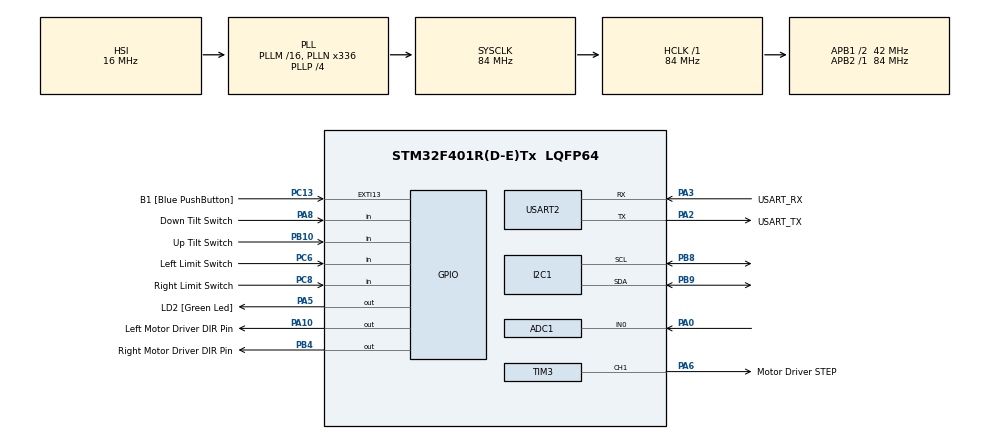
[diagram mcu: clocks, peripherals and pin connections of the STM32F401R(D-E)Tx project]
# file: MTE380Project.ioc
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ADC1.Channel-0\#ChannelRegularConversion=ADC_CHANNEL_0
ADC1.ContinuousConvMode=ENABLE
ADC1.NbrOfConversionFlag=1
ADC1.Rank-0\#ChannelRegularConversion=1
ADC1.SamplingTime-0\#ChannelRegularConversion=ADC_SAMPLETIME_3CYCLES
ADC1.master=1
I2C1.I2C_Mode=I2C_Fast
Mcu.Family=STM32F4
Mcu.Name=STM32F401R(D-E)Tx
Mcu.Package=LQFP64
NVIC.PriorityGroup=NVIC_PRIORITYGROUP_0
PA0-WKUP.Signal=ADCx_IN0
PA10.GPIO_Label=Left Motor Driver DIR Pin
PA10.Signal=GPIO_Output
PA13.GPIO_Label=TMS
PA13.Mode=Serial_Wire
PA13.Signal=SYS_JTMS-SWDIO
PA14.GPIO_Label=TCK
PA14.Mode=Serial_Wire
PA14.Signal=SYS_JTCK-SWCLK
PA2.GPIO_Label=USART_TX
PA2.GPIO_Mode=GPIO_MODE_AF_PP
PA2.GPIO_PuPd=GPIO_NOPULL
PA2.GPIO_Speed=GPIO_SPEED_FREQ_LOW
PA2.Mode=Asynchronous
PA2.Signal=USART2_TX
PA3.GPIO_Label=USART_RX
PA3.GPIO_Mode=GPIO_MODE_AF_PP
PA3.GPIO_PuPd=GPIO_NOPULL
PA3.GPIO_Speed=GPIO_SPEED_FREQ_LOW
PA3.Mode=Asynchronous
PA3.Signal=USART2_RX
PA5.GPIO_Label=LD2 [Green Led]
PA5.GPIO_Mode=GPIO_MODE_OUTPUT_PP
PA5.GPIO_PuPd=GPIO_NOPULL
PA5.GPIO_Speed=GPIO_SPEED_FREQ_LOW
PA5.Signal=GPIO_Output
PA6.GPIO_Label=Motor Driver STEP
PA6.Signal=S_TIM3_CH1
PA8.GPIO_Label=Down Tilt Switch
PA8.Signal=GPIO_Input
PB10.GPIO_Label=Up Tilt Switch
PB10.Signal=GPIO_Input
PB3.GPIO_Label=SWO
PB3.Signal=SYS_JTDO-SWO
PB4.GPIO_Label=Right Motor Driver DIR Pin
PB4.Signal=GPIO_Output
PB8.Mode=I2C
PB8.Signal=I2C1_SCL
PB9.Mode=I2C
PB9.Signal=I2C1_SDA
PC13-ANTI_TAMP.GPIO_Label=B1 [Blue PushButton]
PC13-ANTI_TAMP.GPIO_ModeDefaultEXTI=GPIO_MODE_IT_FALLING
PC13-ANTI_TAMP.GPIO_PuPd=GPIO_NOPULL
PC13-ANTI_TAMP.Signal=GPXTI13
PC14-OSC32_IN.Mode=LSE-External-Oscillator
PC14-OSC32_IN.Signal=RCC_OSC32_IN
PC15-OSC32_OUT.Mode=LSE-External-Oscillator
PC15-OSC32_OUT.Signal=RCC_OSC32_OUT
PC6.GPIO_Label=Left Limit Switch
PC6.Signal=GPIO_Input
PC8.GPIO_Label=Right Limit Switch
PC8.Signal=GPIO_Input
PH0\ -\ OSC_IN.Mode=HSE-External-Oscillator
PH0\ -\ OSC_IN.Signal=RCC_OSC_IN
PH1\ -\ OSC_OUT.Mode=HSE-External-Oscillator
PH1\ -\ OSC_OUT.Signal=RCC_OSC_OUT
ProjectManager.HeapSize=0x200
ProjectManager.StackSize=0x400
ProjectManager.TargetToolchain=Makefile
RCC.48MHZClocksFreq_Value=48000000
RCC.AHBFreq_Value=84000000
RCC.APB1CLKDivider=RCC_HCLK_DIV2
RCC.APB1Freq_Value=42000000
RCC.APB1TimFreq_Value=84000000
RCC.APB2Freq_Value=84000000
RCC.APB2TimFreq_Value=84000000
RCC.CortexFreq_Value=84000000
RCC.HCLKFreq_Value=84000000
RCC.HSE_VALUE=8000000
RCC.HSI_VALUE=16000000
RCC.PLLN=336
RCC.PLLP=RCC_PLLP_DIV4
RCC.PLLQ=7
RCC.SYSCLKFreq_VALUE=84000000
RCC.SYSCLKSource=RCC_SYSCLKSOURCE_PLLCLK
RCC.VCOOutputFreq_Value=336000000
SH.ADCx_IN0.0=ADC1_IN0,IN0
SH.S_TIM3_CH1.0=TIM3_CH1,PWM Generation1 CH1
TIM3.Channel-PWM\ Generation1\ CH1=TIM_CHANNEL_1
TIM3.Period=0
TIM3.Prescaler=16
TIM3.Pulse-PWM\ Generation1\ CH1=100
USART2.VirtualMode=VM_ASYNC
VP_TIM3_VS_ClockSourceINT.Mode=Internal
board=NUCLEO-F401RE

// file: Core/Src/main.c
/* USER CODE BEGIN Header */
/**
  ******************************************************************************
  * @file           : main.c
  * @brief          : Main program body
  ******************************************************************************
  * @attention
  *
  * Copyright (c) 2023 STMicroelectronics.
  * All rights reserved.
  *
  * This software is licensed under terms that can be found in the LICENSE file
  * in the root directory of this software component.
  * If no LICENSE file comes with this software, it is provided AS-IS.
  *
  ******************************************************************************
  */
/* USER CODE END Header */
#include "main.h"

/* USER CODE BEGIN Includes */
#include "switches.h"
#include "MB1040.h"
#include "motor_functions.h"
#include "mpu6050.h"

#ifdef LOGGING
#include "logging.h"
#endif

#include "controls.h"

/* USER CODE END Includes */

ADC_HandleTypeDef hadc1;

I2C_HandleTypeDef hi2c1;

TIM_HandleTypeDef htim3;

UART_HandleTypeDef huart2;

void SystemClock_Config(void);
static void MX_GPIO_Init(void);
static void MX_USART2_UART_Init(void);
static void MX_TIM3_Init(void);
static void MX_ADC1_Init(void);
static void MX_I2C1_Init(void);

int main(void)
{

  /* MCU Configuration--------------------------------------------------------*/

  /* Reset of all peripherals, Initializes the Flash interface and the Systick. */
  HAL_Init();

  /* Configure the system clock */
  SystemClock_Config();

  /* Initialize all configured peripherals */
  MX_GPIO_Init();
  MX_USART2_UART_Init();
  MX_TIM3_Init();
  MX_ADC1_Init();
  MX_I2C1_Init();
  /* USER CODE BEGIN 2 */
  swtiches_config_t rightLimitSwitch;
  swtiches_config_t leftLimitSwitch;
  swtiches_config_t upTiltSwitch;
  swtiches_config_t downTiltSwitch;

  SWITCHES_initialize_switch_config(&rightLimitSwitch, Right_Limit_Switch_Pin, Right_Limit_Switch_GPIO_Port);
  SWITCHES_initialize_switch_config(&leftLimitSwitch, Left_Limit_Switch_Pin, Left_Limit_Switch_GPIO_Port);
  SWITCHES_initialize_switch_config(&upTiltSwitch, Up_Tilt_Switch_Pin, Up_Tilt_Switch_GPIO_Port);
  SWITCHES_initialize_switch_config(&downTiltSwitch, Down_Tilt_Switch_Pin, Down_Tilt_Switch_GPIO_Port);

  switches_instance_t switchInstance;

  SWITCHES_initiallize_switch_instance(&switchInstance, &rightLimitSwitch, &leftLimitSwitch, &upTiltSwitch, &downTiltSwitch);

  motor_config_t rightMotor;
  motor_config_t leftMotor;

  MOTOR_initialize_motor_config(&rightMotor, Right_Motor_Driver_DIR_Pin_GPIO_Port, Right_Motor_Driver_DIR_Pin_Pin);
  MOTOR_initialize_motor_config(&leftMotor, Left_Motor_Driver_DIR_Pin_GPIO_Port, Left_Motor_Driver_DIR_Pin_Pin);

  motor_instance_t motorInstance;

  MOTOR_initialize_motor_instance(&motorInstance, &htim3, rightMotor, leftMotor);

  HAL_TIM_PWM_Start(&htim3, TIM_CHANNEL_1);

  MPU6050_t gyroInstance;

  while(MPU6050_Init(&hi2c1)) {
    HAL_GPIO_WritePin(LD2_GPIO_Port, LD2_Pin, 1);
  }

  HAL_GPIO_WritePin(LD2_GPIO_Port, LD2_Pin, 0);

  float distance;

  // while(HAL_GPIO_ReadPin(B1_GPIO_Port, B1_Pin) == 1) {}

  // MOTOR_move_speed_forward(10000, &motorInstance);

  /* USER CODE END 2 */

  /* Infinite loop */
  while (1)
  {
    while(HAL_GPIO_ReadPin(B1_GPIO_Port, B1_Pin) == 1) {
      SWITCHES_get_right_limit_switch(&switchInstance);
      SWITCHES_get_left_limit_switch(&switchInstance);
      MB1040_get_distance(&hadc1, &distance);
      MPU6050_Read_All(&hi2c1, &gyroInstance);

      #ifdef LOGGING
      logging(&huart2, 0, &switchInstance, &motorInstance, &gyroInstance);
      #endif
    }

    HAL_GPIO_WritePin(LD2_GPIO_Port, LD2_Pin, 1);

    platform_finding_side_scan(&huart2, &motorInstance, &switchInstance, &hadc1, &gyroInstance, &hi2c1);

    //wall_align(&huart2, &motorInstance, &switchInstance, &gyroInstance);

    HAL_GPIO_WritePin(LD2_GPIO_Port, LD2_Pin, 0);

    // MPU6050_Read_All(&hi2c1, &gyroInstance);

    // MB1040_get_distance(&hadc1, &distance);

    // #ifdef LOGGING
    // logging(&huart2, distance, &switchesInstance, &motorInstance, &gyroInstance);
    // #endif

    // if(distance < minDistance) {
    //   minDistance = distance;
    // }

    // if(distance <= PILLAR_DISTANCE_THRESHOLD) {
    //   HAL_GPIO_TogglePin(LD2_GPIO_Port, LD2_Pin);
    // }

    // if(gyroInstance.KalmanAngleX) {
    //   HAL_GPIO_TogglePin(LD2_GPIO_Port, LD2_Pin);
    // }

  }
}

void SystemClock_Config(void)
{
  RCC_OscInitTypeDef RCC_OscInitStruct = {0};
  RCC_ClkInitTypeDef RCC_ClkInitStruct = {0};

  /** Configure the main internal regulator output voltage
  */
  __HAL_RCC_PWR_CLK_ENABLE();
  __HAL_PWR_VOLTAGESCALING_CONFIG(PWR_REGULATOR_VOLTAGE_SCALE2);

  /** Initializes the RCC Oscillators according to the specified parameters
  * in the RCC_OscInitTypeDef structure.
  */
  RCC_OscInitStruct.OscillatorType = RCC_OSCILLATORTYPE_HSI;
  RCC_OscInitStruct.HSIState = RCC_HSI_ON;
  RCC_OscInitStruct.HSICalibrationValue = RCC_HSICALIBRATION_DEFAULT;
  RCC_OscInitStruct.PLL.PLLState = RCC_PLL_ON;
  RCC_OscInitStruct.PLL.PLLSource = RCC_PLLSOURCE_HSI;
  RCC_OscInitStruct.PLL.PLLM = 16;
  RCC_OscInitStruct.PLL.PLLN = 336;
  RCC_OscInitStruct.PLL.PLLP = RCC_PLLP_DIV4;
  RCC_OscInitStruct.PLL.PLLQ = 7;
  if (HAL_RCC_OscConfig(&RCC_OscInitStruct) != HAL_OK)
  {
    Error_Handler();
  }

  /** Initializes the CPU, AHB and APB buses clocks
  */
  RCC_ClkInitStruct.ClockType = RCC_CLOCKTYPE_HCLK|RCC_CLOCKTYPE_SYSCLK
                              |RCC_CLOCKTYPE_PCLK1|RCC_CLOCKTYPE_PCLK2;
  RCC_ClkInitStruct.SYSCLKSource = RCC_SYSCLKSOURCE_PLLCLK;
  RCC_ClkInitStruct.AHBCLKDivider = RCC_SYSCLK_DIV1;
  RCC_ClkInitStruct.APB1CLKDivider = RCC_HCLK_DIV2;
  RCC_ClkInitStruct.APB2CLKDivider = RCC_HCLK_DIV1;

  if (HAL_RCC_ClockConfig(&RCC_ClkInitStruct, FLASH_LATENCY_2) != HAL_OK)
  {
    Error_Handler();
  }
}

static void MX_ADC1_Init(void)
{

  ADC_ChannelConfTypeDef sConfig = {0};

  /** Configure the global features of the ADC (Clock, Resolution, Data Alignment and number of conversion)
  */
  hadc1.Instance = ADC1;
  hadc1.Init.ClockPrescaler = ADC_CLOCK_SYNC_PCLK_DIV4;
  hadc1.Init.Resolution = ADC_RESOLUTION_12B;
  hadc1.Init.ScanConvMode = DISABLE;
  hadc1.Init.ContinuousConvMode = ENABLE;
  hadc1.Init.DiscontinuousConvMode = DISABLE;
  hadc1.Init.ExternalTrigConvEdge = ADC_EXTERNALTRIGCONVEDGE_NONE;
  hadc1.Init.ExternalTrigConv = ADC_SOFTWARE_START;
  hadc1.Init.DataAlign = ADC_DATAALIGN_RIGHT;
  hadc1.Init.NbrOfConversion = 1;
  hadc1.Init.DMAContinuousRequests = DISABLE;
  hadc1.Init.EOCSelection = ADC_EOC_SINGLE_CONV;
  if (HAL_ADC_Init(&hadc1) != HAL_OK)
  {
    Error_Handler();
  }

  /** Configure for the selected ADC regular channel its corresponding rank in the sequencer and its sample time.
  */
  sConfig.Channel = ADC_CHANNEL_0;
  sConfig.Rank = 1;
  sConfig.SamplingTime = ADC_SAMPLETIME_3CYCLES;
  if (HAL_ADC_ConfigChannel(&hadc1, &sConfig) != HAL_OK)
  {
    Error_Handler();
  }

}

static void MX_I2C1_Init(void)
{

  hi2c1.Instance = I2C1;
  hi2c1.Init.ClockSpeed = 400000;
  hi2c1.Init.DutyCycle = I2C_DUTYCYCLE_2;
  hi2c1.Init.OwnAddress1 = 0;
  hi2c1.Init.AddressingMode = I2C_ADDRESSINGMODE_7BIT;
  hi2c1.Init.DualAddressMode = I2C_DUALADDRESS_DISABLE;
  hi2c1.Init.OwnAddress2 = 0;
  hi2c1.Init.GeneralCallMode = I2C_GENERALCALL_DISABLE;
  hi2c1.Init.NoStretchMode = I2C_NOSTRETCH_DISABLE;
  if (HAL_I2C_Init(&hi2c1) != HAL_OK)
  {
    Error_Handler();
  }

}

static void MX_TIM3_Init(void)
{

  TIM_ClockConfigTypeDef sClockSourceConfig = {0};
  TIM_MasterConfigTypeDef sMasterConfig = {0};
  TIM_OC_InitTypeDef sConfigOC = {0};

  htim3.Instance = TIM3;
  htim3.Init.Prescaler = 16;
  htim3.Init.CounterMode = TIM_COUNTERMODE_UP;
  htim3.Init.Period = 0;
  htim3.Init.ClockDivision = TIM_CLOCKDIVISION_DIV1;
  htim3.Init.AutoReloadPreload = TIM_AUTORELOAD_PRELOAD_DISABLE;
  if (HAL_TIM_Base_Init(&htim3) != HAL_OK)
  {
    Error_Handler();
  }
  sClockSourceConfig.ClockSource = TIM_CLOCKSOURCE_INTERNAL;
  if (HAL_TIM_ConfigClockSource(&htim3, &sClockSourceConfig) != HAL_OK)
  {
    Error_Handler();
  }
  if (HAL_TIM_PWM_Init(&htim3) != HAL_OK)
  {
    Error_Handler();
  }
  sMasterConfig.MasterOutputTrigger = TIM_TRGO_RESET;
  sMasterConfig.MasterSlaveMode = TIM_MASTERSLAVEMODE_DISABLE;
  if (HAL_TIMEx_MasterConfigSynchronization(&htim3, &sMasterConfig) != HAL_OK)
  {
    Error_Handler();
  }
  sConfigOC.OCMode = TIM_OCMODE_PWM1;
  sConfigOC.Pulse = 100;
  sConfigOC.OCPolarity = TIM_OCPOLARITY_HIGH;
  sConfigOC.OCFastMode = TIM_OCFAST_DISABLE;
  if (HAL_TIM_PWM_ConfigChannel(&htim3, &sConfigOC, TIM_CHANNEL_1) != HAL_OK)
  {
    Error_Handler();
  }
  HAL_TIM_MspPostInit(&htim3);

}

static void MX_USART2_UART_Init(void)
{

  huart2.Instance = USART2;
  huart2.Init.BaudRate = 115200;
  huart2.Init.WordLength = UART_WORDLENGTH_8B;
  huart2.Init.StopBits = UART_STOPBITS_1;
  huart2.Init.Parity = UART_PARITY_NONE;
  huart2.Init.Mode = UART_MODE_TX_RX;
  huart2.Init.HwFlowCtl = UART_HWCONTROL_NONE;
  huart2.Init.OverSampling = UART_OVERSAMPLING_16;
  if (HAL_UART_Init(&huart2) != HAL_OK)
  {
    Error_Handler();
  }

}

static void MX_GPIO_Init(void)
{
  GPIO_InitTypeDef GPIO_InitStruct = {0};

  /* GPIO Ports Clock Enable */
  __HAL_RCC_GPIOC_CLK_ENABLE();
  __HAL_RCC_GPIOH_CLK_ENABLE();
  __HAL_RCC_GPIOA_CLK_ENABLE();
  __HAL_RCC_GPIOB_CLK_ENABLE();

  /*Configure GPIO pin Output Level */
  HAL_GPIO_WritePin(GPIOA, LD2_Pin|Left_Motor_Driver_DIR_Pin_Pin, GPIO_PIN_RESET);

  /*Configure GPIO pin Output Level */
  HAL_GPIO_WritePin(Right_Motor_Driver_DIR_Pin_GPIO_Port, Right_Motor_Driver_DIR_Pin_Pin, GPIO_PIN_RESET);

  /*Configure GPIO pin : B1_Pin */
  GPIO_InitStruct.Pin = B1_Pin;
  GPIO_InitStruct.Mode = GPIO_MODE_IT_FALLING;
  GPIO_InitStruct.Pull = GPIO_NOPULL;
  HAL_GPIO_Init(B1_GPIO_Port, &GPIO_InitStruct);

  /*Configure GPIO pins : LD2_Pin Left_Motor_Driver_DIR_Pin_Pin */
  GPIO_InitStruct.Pin = LD2_Pin|Left_Motor_Driver_DIR_Pin_Pin;
  GPIO_InitStruct.Mode = GPIO_MODE_OUTPUT_PP;
  GPIO_InitStruct.Pull = GPIO_NOPULL;
  GPIO_InitStruct.Speed = GPIO_SPEED_FREQ_LOW;
  HAL_GPIO_Init(GPIOA, &GPIO_InitStruct);

  /*Configure GPIO pin : Up_Tilt_Switch_Pin */
  GPIO_InitStruct.Pin = Up_Tilt_Switch_Pin;
  GPIO_InitStruct.Mode = GPIO_MODE_INPUT;
  GPIO_InitStruct.Pull = GPIO_NOPULL;
  HAL_GPIO_Init(Up_Tilt_Switch_GPIO_Port, &GPIO_InitStruct);

  /*Configure GPIO pins : Left_Limit_Switch_Pin Right_Limit_Switch_Pin */
  GPIO_InitStruct.Pin = Left_Limit_Switch_Pin|Right_Limit_Switch_Pin;
  GPIO_InitStruct.Mode = GPIO_MODE_INPUT;
  GPIO_InitStruct.Pull = GPIO_NOPULL;
  HAL_GPIO_Init(GPIOC, &GPIO_InitStruct);

  /*Configure GPIO pin : Down_Tilt_Switch_Pin */
  GPIO_InitStruct.Pin = Down_Tilt_Switch_Pin;
  GPIO_InitStruct.Mode = GPIO_MODE_INPUT;
  GPIO_InitStruct.Pull = GPIO_NOPULL;
  HAL_GPIO_Init(Down_Tilt_Switch_GPIO_Port, &GPIO_InitStruct);

  /*Configure GPIO pin : Right_Motor_Driver_DIR_Pin_Pin */
  GPIO_InitStruct.Pin = Right_Motor_Driver_DIR_Pin_Pin;
  GPIO_InitStruct.Mode = GPIO_MODE_OUTPUT_PP;
  GPIO_InitStruct.Pull = GPIO_NOPULL;
  GPIO_InitStruct.Speed = GPIO_SPEED_FREQ_LOW;
  HAL_GPIO_Init(Right_Motor_Driver_DIR_Pin_GPIO_Port, &GPIO_InitStruct);

}

void Error_Handler(void)
{
  __disable_irq();
  while (1)
  {
  }
}
